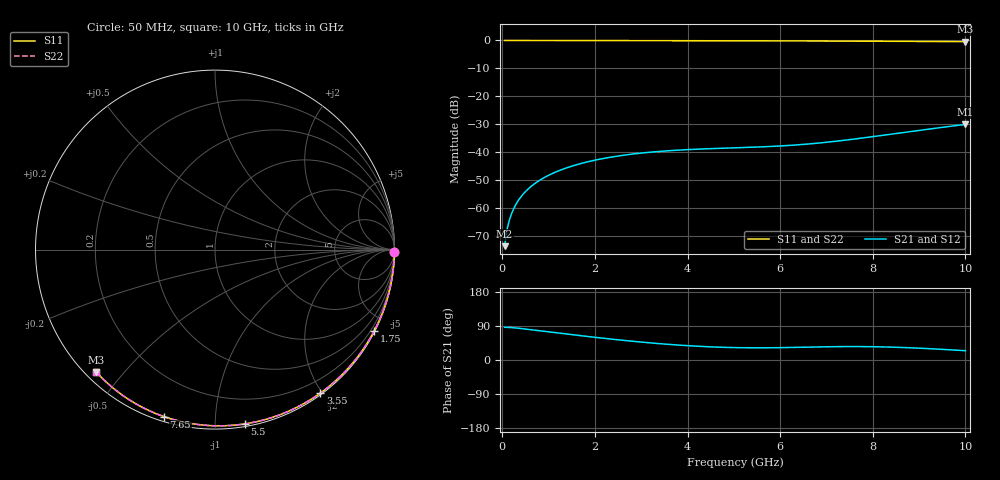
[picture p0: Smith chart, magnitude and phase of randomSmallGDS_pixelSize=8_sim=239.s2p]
! freq	dB(S11)	phase(S11)	dB(S12)	phase(S12)
!  dB(S21)	phase(S21)	dB(S22)	phase(S22)
!S-par simulation data
#  GHz  S  DB  R 50
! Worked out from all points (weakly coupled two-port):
!   200 points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, 50 MHz to 10 GHz, reference 50 ohm
!   highest |S21| = -30.07 dB at 10 GHz (marker M1); lowest = -73.7 dB at 50 MHz (marker M2)
!   lowest |S11| = -0.4 dB at 10 GHz (marker M3), VSWR 39.11, Z = 1.51 - j21.2 ohm
!   |S11| at or under -10 dB: nowhere
!   |S22| runs from -0.4 to 0.0 dB; largest |S21 - S12| = 0
!   S11 on the Smith chart (normalised r, x): 50 MHz: open; 1.75 GHz: 0.04, -4.14; 3.55 GHz: 0.02, -1.97; 5.5 GHz: 0.02, -1.18; 7.65 GHz: 0.02, -0.74; 10 GHz: 0.03, -0.42
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0.05  -0.00 -0.8  -73.70 86.4  -73.70 86.4  -0.00 -0.8
0.1  -0.00 -1.6  -67.93 86.2  -67.93 86.2  -0.00 -1.6
0.15  -0.00 -2.4  -64.49 86.0  -64.49 86.0  -0.00 -2.4
0.2  -0.00 -3.2  -62.03 85.6  -62.03 85.6  -0.00 -3.2
0.25  -0.00 -3.9  -60.12 85.0  -60.12 85.0  -0.00 -3.9
0.35  -0.00 -5.5  -57.22 83.8  -57.22 83.8  -0.00 -5.5
0.5  -0.01 -7.9  -54.16 81.7  -54.16 81.7  -0.01 -7.9
0.7  -0.01 -11.0  -51.29 78.7  -51.29 78.7  -0.01 -11.0
1  -0.02 -15.7  -48.30 74.3  -48.30 74.3  -0.02 -15.7
1.35  -0.03 -21.1  -45.86 69.1  -45.86 69.1  -0.03 -21.1
1.75  -0.03 -27.2  -43.86 63.4  -43.86 63.4  -0.03 -27.2
2.5  -0.05 -38.5  -41.40 53.3  -41.40 53.3  -0.05 -38.5
3.4  -0.07 -51.6  -39.74 43.0  -39.74 43.0  -0.07 -51.6
3.55  -0.07 -53.8  -39.55 41.6  -39.55 41.6  -0.07 -53.8
4.3  -0.09 -64.3  -38.88 35.8  -38.88 35.8  -0.09 -64.3
5.05  -0.11 -74.4  -38.45 32.6  -38.45 32.6  -0.11 -74.4
5.5  -0.13 -80.4  -38.19 32.1  -38.19 32.1  -0.13 -80.4
6.7  -0.18 -95.6  -36.96 34.2  -36.96 34.2  -0.18 -95.6
7.65  -0.24 -107.1  -35.22 35.5  -35.22 35.5  -0.24 -107.1
8.35  -0.29 -115.3  -33.68 34.2  -33.68 34.2  -0.29 -115.3
9.2  -0.36 -125.0  -31.77 30.1  -31.77 30.1  -0.36 -125.0
10  -0.44 -134.1  -30.07 24.5  -30.07 24.5  -0.44 -134.1
